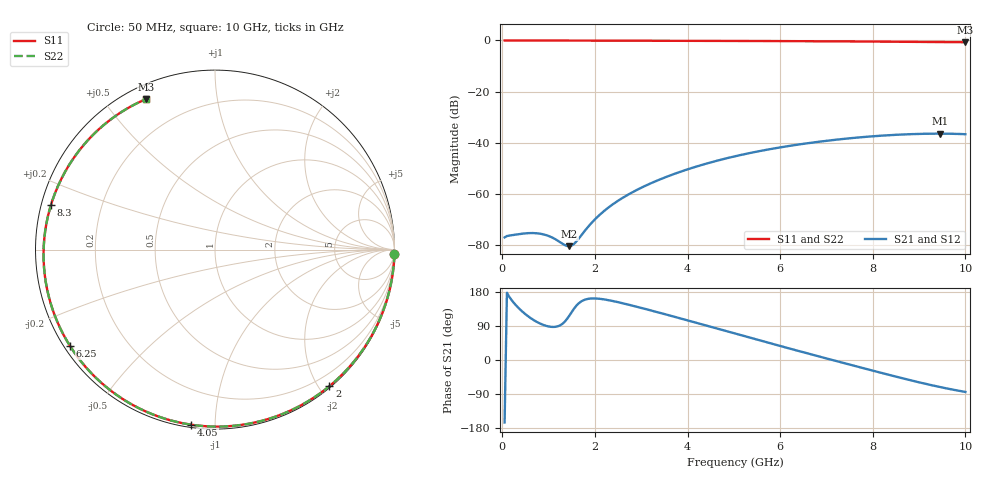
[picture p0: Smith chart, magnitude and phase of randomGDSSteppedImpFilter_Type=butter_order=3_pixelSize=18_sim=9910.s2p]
! freq	dB(S11)	phase(S11)	dB(S12)	phase(S12)
!  dB(S21)	phase(S21)	dB(S22)	phase(S22)
!S-par simulation data
#  GHz  S  DB  R 50
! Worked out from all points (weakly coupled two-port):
!   200 points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, 50 MHz to 10 GHz, reference 50 ohm
!   highest |S21| = -36.51 dB at 9.45 GHz (marker M1); lowest = -80.6 dB at 1.45 GHz (marker M2)
!   lowest |S11| = -0.7 dB at 10 GHz (marker M3), VSWR 24.76, Z = 2.85 + j32.1 ohm
!   |S11| at or under -10 dB: nowhere
!   |S22| runs from -0.7 to 0.0 dB; largest |S21 - S12| = 0
!   S11 on the Smith chart (normalised r, x): 50 MHz: 0, -90; 2 GHz: 0.02, -2.14; 4.05 GHz: 0.01, -0.87; 6.25 GHz: 0.02, -0.30; 8.3 GHz: 0.03, +0.13; 10 GHz: 0.06, +0.64
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0.05  -0.00 -1.3  -77.17 -164.8  -77.17 -164.8  -0.00 -1.3
0.4  -0.01 -10.2  -75.78 131.4  -75.78 131.4  -0.01 -10.2
0.75  -0.02 -19.1  -75.55 100.2  -75.55 100.2  -0.02 -19.1
1  -0.03 -25.4  -76.61 88.5  -76.61 88.5  -0.03 -25.4
1.35  -0.04 -34.1  -80.17 101.3  -80.17 101.3  -0.04 -34.1
1.45  -0.05 -36.6  -80.60 117.5  -80.60 117.5  -0.05 -36.6
1.55  -0.05 -39.1  -79.67 135.7  -79.67 135.7  -0.05 -39.1
1.75  -0.06 -44.0  -75.31 157.5  -75.31 157.5  -0.06 -44.0
2  -0.06 -50.1  -70.10 162.4  -70.10 162.4  -0.06 -50.0
2.25  -0.07 -56.1  -66.05 158.9  -66.05 158.9  -0.07 -56.1
2.6  -0.08 -64.4  -61.66 149.8  -61.66 149.8  -0.08 -64.4
3.4  -0.11 -83.0  -54.48 124.6  -54.48 124.6  -0.11 -83.0
4.05  -0.13 -97.7  -50.21 102.9  -50.21 102.9  -0.13 -97.7
5.05  -0.18 -119.8  -45.28 69.0  -45.28 69.0  -0.18 -119.8
6.25  -0.26 -146.3  -41.17 28.7  -41.17 28.7  -0.26 -146.2
6.7  -0.30 -156.4  -40.00 13.9  -40.00 13.9  -0.30 -156.4
7.55  -0.38 -176.3  -38.24 -13.7  -38.24 -13.7  -0.38 -176.3
8.3  -0.47 164.7  -37.17 -37.6  -37.17 -37.6  -0.47 164.7
8.35  -0.48 163.4  -37.12 -39.2  -37.12 -39.2  -0.48 163.4
8.9  -0.55 148.3  -36.67 -56.0  -36.67 -56.0  -0.55 148.3
9.45  -0.62 132.1  -36.51 -71.3  -36.51 -71.3  -0.62 132.1
10  -0.70 114.5  -36.74 -84.3  -36.74 -84.3  -0.70 114.5
